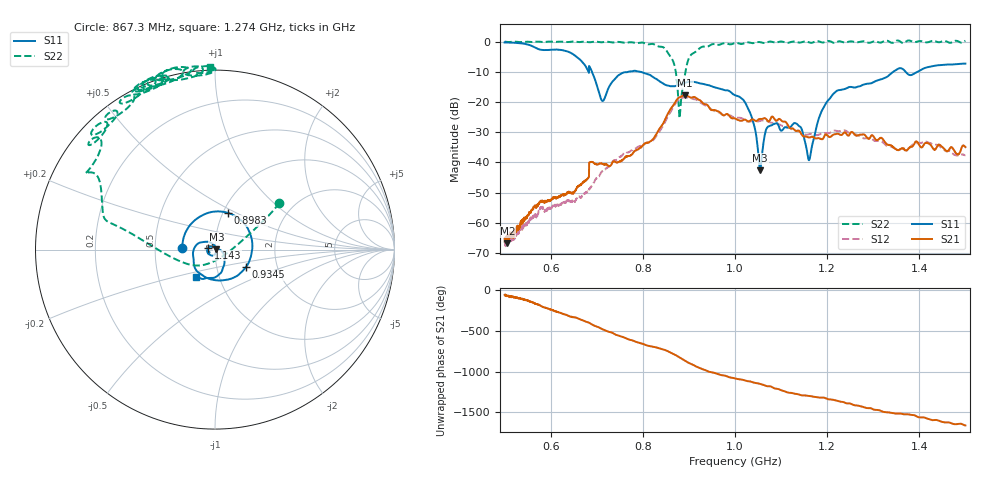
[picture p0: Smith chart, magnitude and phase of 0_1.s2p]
!Agilent Technologies,E8364B,US42250235,A.06.04.32
!Agilent E8364B: A.06.04.32
!Date: Thursday, October 01, 2020 15:31:26
!Correction: S11(Full 2 Port(1,2)) S21(Full 2 Port(1,2)) S12(Full 2 Port(1,2)) S22(Full 2 Port(1,2))
!S2P File: Measurements: S11, S21, S12, S22:
# Hz S  dB  R 50
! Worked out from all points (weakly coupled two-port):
!   2650 points, 500 MHz to 1.5 GHz, reference 50 ohm
!   highest |S21| = -17.69 dB at 891.5 MHz (marker M1); lowest = -66.8 dB at 506 MHz (marker M2)
!   lowest |S11| = -42.6 dB at 1.055 GHz (marker M3), VSWR 1.02, Z = 50.7 + j0.122 ohm
!   |S11| at or under -10 dB: 689.9 MHz to 766.6 MHz (76.73 MHz wide, 10.5 % of centre); 797.1 MHz to 1.343 GHz (545.4 MHz wide, 51 % of centre); 1.371 GHz to 1.395 GHz (24.12 MHz wide, 1.74 % of centre) (the widest 3 of 4)
!   |S22| runs from -25.3 to 0.5 dB; largest |S21 - S12| = 0.033
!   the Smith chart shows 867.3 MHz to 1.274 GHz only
!   S11 on the Smith chart (normalised r, x): 867.3 MHz: 0.69, +0.01; 898.3 MHz: 1.05, +0.45; 934.5 MHz: 1.38, -0.28; 1.143 GHz: 0.93, +0.02; 1.274 GHz: 0.77, -0.25
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5e8  -0.17 -175.1  -65.21 -54.5  -66.31 -52.9  0.10 144.1
5.0604e8  -0.19 -178.4  -66.83 -71.3  -65.21 -65.0  -0.00 144.0
6.219328e8  -2.65 109.5  -50.97 82.5  -53.98 69.2  0.10 130.7
6.668554e8  -6.37 55.2  -47.28 -2.0  -51.47 -8.6  0.03 124.0
7.12533e8  -19.60 -132.3  -40.54 -118.0  -42.85 -101.0  -0.09 115.5
7.646282e8  -10.05 76.1  -37.95 128.1  -36.61 128.2  -0.22 108.6
8.337108e8  -12.75 -65.0  -29.45 12.3  -30.38 18.0  -1.48 85.2
8.673084e8  -14.71 177.3  -20.77 -63.6  -21.26 -50.2  -7.06 36.1
8.801435e8  -14.15 131.9  -18.32 -106.9  -18.83 -93.5  -24.98 -76.3
8.914685e8  -13.52 94.1  -17.69 -145.2  -18.27 -130.8  -10.63 -177.2
8.982635e8  -13.27 71.0  -18.04 -167.4  -18.60 -152.4  -6.07 168.3
9.345036e8  -14.09 -29.9  -20.66 102.8  -21.03 118.3  -1.57 148.7
1.000189e9  -17.70 -156.7  -25.39 -2.5  -25.18 10.0  -0.36 126.4
1.034541e9  -24.16 134.6  -25.91 -40.9  -26.37 -36.7  -0.34 122.2
1.054549e9  -42.56 9.3  -25.53 -69.9  -26.21 -63.8  -0.07 117.8
1.072669e9  -28.04 -126.1  -26.41 -98.1  -26.51 -94.8  0.03 108.1
1.142884e9  -28.37 162.9  -30.29 152.1  -30.07 168.6  -0.17 106.2
1.166667e9  -34.90 15.6  -31.45 138.7  -30.58 146.3  -0.29 105.0
1.202152e9  -19.38 -64.6  -31.31 103.1  -30.36 109.0  0.32 101.5
1.273877e9  -14.55 -125.1  -30.79 14.6  -31.61 8.5  0.16 91.4
1.333522e9  -11.19 -143.7  -34.23 -58.9  -34.64 -57.9  0.22 97.2
1.5e9  -7.19 139.1  -34.91 140.4  -37.60 131.2  0.39 69.3
